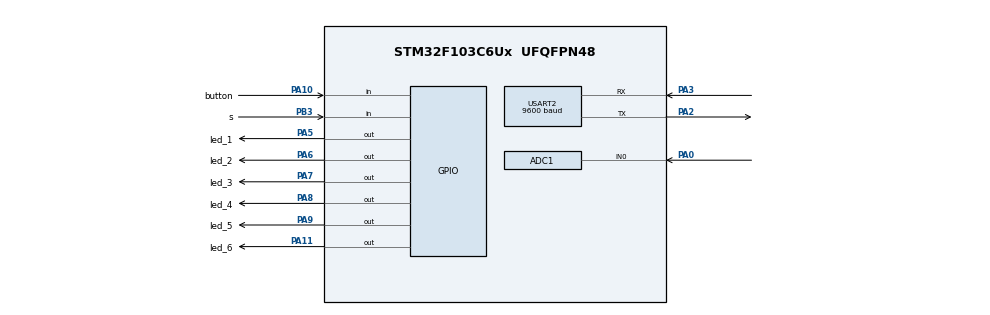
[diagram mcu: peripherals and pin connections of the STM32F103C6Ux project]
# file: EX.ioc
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ADC1.Channel-0\#ChannelRegularConversion=ADC_CHANNEL_0
ADC1.ContinuousConvMode=ENABLE
ADC1.NbrOfConversionFlag=1
ADC1.Rank-0\#ChannelRegularConversion=1
ADC1.SamplingTime-0\#ChannelRegularConversion=ADC_SAMPLETIME_1CYCLE_5
ADC1.master=1
Mcu.Family=STM32F1
Mcu.Name=STM32F103C6Ux
Mcu.Package=UFQFPN48
NVIC.ADC1_2_IRQn=true\:0\:0\:false\:false\:true\:true\:true\:true
NVIC.PriorityGroup=NVIC_PRIORITYGROUP_4
NVIC.TIM2_IRQn=true\:0\:0\:false\:false\:true\:true\:true\:true
NVIC.USART2_IRQn=true\:0\:0\:false\:false\:true\:true\:true\:true
PA0-WKUP.Signal=ADCx_IN0
PA10.GPIO_Label=button
PA10.GPIO_PuPd=GPIO_PULLUP
PA10.Signal=GPIO_Input
PA11.GPIO_Label=led_6
PA11.Signal=GPIO_Output
PA2.Mode=Asynchronous
PA2.Signal=USART2_TX
PA3.Mode=Asynchronous
PA3.Signal=USART2_RX
PA5.GPIO_Label=led_1
PA5.Signal=GPIO_Output
PA6.GPIO_Label=led_2
PA6.Signal=GPIO_Output
PA7.GPIO_Label=led_3
PA7.Signal=GPIO_Output
PA8.GPIO_Label=led_4
PA8.Signal=GPIO_Output
PA9.GPIO_Label=led_5
PA9.Signal=GPIO_Output
PB3.GPIO_Label=s
PB3.GPIO_PuPd=GPIO_PULLUP
PB3.Signal=GPIO_Input
ProjectManager.HeapSize=0x200
ProjectManager.StackSize=0x400
ProjectManager.TargetToolchain=STM32CubeIDE
RCC.APB1Freq_Value=8000000
RCC.APB2Freq_Value=8000000
SH.ADCx_IN0.0=ADC1_IN0,IN0
TIM2.Period=10
TIM2.Prescaler=7999
USART2.BaudRate=9600
USART2.VirtualMode=VM_ASYNC
VP_SYS_VS_ND.Mode=No_Debug
VP_TIM2_VS_ClockSourceINT.Mode=Internal
board=custom

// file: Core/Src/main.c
/* USER CODE BEGIN Header */
/**
 ******************************************************************************
 * @file           : main.c
 * @brief          : Main program body
 ******************************************************************************
 * @attention
 *
 * Copyright (c) 2022 STMicroelectronics.
 * All rights reserved.
 *
 * This software is licensed under terms that can be found in the LICENSE file
 * in the root directory of this software component.
 * If no LICENSE file comes with this software, it is provided AS-IS.
 *
 ******************************************************************************
 */
/* USER CODE END Header */
#include "main.h"
#include "string.h"
#include "timer_interrupt.h"
/* USER CODE BEGIN Includes */

// MUST BE ADJUSTED FOR EACH NEW PROJECT
/* USER CODE END Includes */

/* USER CODE BEGIN PTD */

TIM_HandleTypeDef htim2;

/* USER CODE END PTD */

ADC_HandleTypeDef hadc1;

TIM_HandleTypeDef htim2;

UART_HandleTypeDef huart2;

void SystemClock_Config(void);
static void MX_GPIO_Init(void);
static void MX_TIM2_Init(void);
static void MX_ADC1_Init(void);
static void MX_USART2_UART_Init(void);
/* USER CODE BEGIN PFP */
# define MAX_BUFFER_SIZE 30
uint8_t temp;
char buffer[MAX_BUFFER_SIZE];
uint8_t index_buffer = 0;
uint8_t index_end = 0;
uint8_t buffer_flag = 0;
uint8_t flag_start = 0;
uint8_t flag_uart = 0;
uint8_t flag_update = 1;
uint32_t ADC_value = 0;
uint8_t status = 0;
char msg[10];
char char_null[20] = "";
uint8_t confirm_flag = 0;
uint8_t connect_flag = 0;
char respond[20] = "!ADC=";
char empty[MAX_BUFFER_SIZE];
void HAL_TIM_PeriodElapsedCallback(TIM_HandleTypeDef *htim) {
	timer_run();
}
void HAL_UART_RxCpltCallback(UART_HandleTypeDef *huart) {
	if (huart->Instance == huart2.Instance) {
		buffer_flag = 1;
		HAL_UART_Transmit(&huart2, &temp, 1, 50);
		HAL_UART_Receive_IT(&huart2, &temp, 1);
	}
}
void command_parser_fms() {
	if (temp == 33) {
		buffer[index_buffer++] = temp;
		flag_start = 1;
	} else if (temp == 35) {
		buffer[index_buffer++] = temp;
		flag_start = 0;
	} else if (flag_start == 1) {
		buffer[index_buffer++] = temp;
	} else if (temp == 13 && flag_start == 0) {
		index_buffer = 0;
		if (strcmp(buffer, "!OK#") == 0) {
			status = 0;
			flag_update = 1;
		}
		else if (strcmp(buffer, "!RST#") == 0) {
			status = 1;
			setTimer(0, 0);
			flag_update = 1;
		}
		strcpy(buffer, empty);
	}

}
void uart_communication_fsm() {
	if (status == 1 && timer_flag[0] == 1) {
		HAL_UART_Transmit(&huart2, respond, sizeof(respond), 50);
		if (flag_update == 1) {
			ADC_value = HAL_ADC_GetValue(&hadc1);
		}
		sprintf(msg, "%u#\r\n", ADC_value);
		HAL_UART_Transmit(&huart2, (uint8_t*) msg, strlen(msg), 50);
		setTimer(0, 3000);
		flag_update = 0;
	}
}
/* USER CODE END PFP */

int main(void) {

	/* MCU Configuration--------------------------------------------------------*/

	/* Reset of all peripherals, Initializes the Flash interface and the Systick. */
	HAL_Init();

	/* Configure the system clock */
	SystemClock_Config();

	/* Initialize all configured peripherals */
	MX_GPIO_Init();
	MX_TIM2_Init();
	MX_ADC1_Init();
	HAL_ADC_Start(&hadc1);
	MX_USART2_UART_Init();
	HAL_UART_Receive_IT(&huart2, &temp, 6);
	HAL_TIM_Base_Start_IT(&htim2);
	setTimer(0, 0);
	setTimer(1, 0);
	/* USER CODE BEGIN 2 */
	/* USER CODE END 0 */
	/* USER CODE END 2 */

	/* Infinite loop */
	/* USER CODE BEGIN WHILE */

	/* USER CODE BEGIN 1 */
	/* USER CODE BEGIN 1 */
//	uint16_t raw;
//	uint32_t res;
//	char msg[10];
	/* USER CODE END 1 */

	while (1) {
		/* USER CODE END WHILE */
		/* USER CODE BEGIN 3 */
		if (buffer_flag == 1) {
			command_parser_fms();
			buffer_flag = 0;
		}
		uart_communication_fsm();
		if (timer_flag[1] == 1) {
			setTimer(1, 500);
			HAL_GPIO_TogglePin(GPIOA, led_2_Pin);
		}
	}
	/* USER CODE END 3 */
}

void SystemClock_Config(void) {
	RCC_OscInitTypeDef RCC_OscInitStruct = { 0 };
	RCC_ClkInitTypeDef RCC_ClkInitStruct = { 0 };
	RCC_PeriphCLKInitTypeDef PeriphClkInit = { 0 };

	/** Initializes the RCC Oscillators according to the specified parameters
	 * in the RCC_OscInitTypeDef structure.
	 */
	RCC_OscInitStruct.OscillatorType = RCC_OSCILLATORTYPE_HSI;
	RCC_OscInitStruct.HSIState = RCC_HSI_ON;
	RCC_OscInitStruct.HSICalibrationValue = RCC_HSICALIBRATION_DEFAULT;
	RCC_OscInitStruct.PLL.PLLState = RCC_PLL_NONE;
	if (HAL_RCC_OscConfig(&RCC_OscInitStruct) != HAL_OK) {
		Error_Handler();
	}

	/** Initializes the CPU, AHB and APB buses clocks
	 */
	RCC_ClkInitStruct.ClockType = RCC_CLOCKTYPE_HCLK | RCC_CLOCKTYPE_SYSCLK
			| RCC_CLOCKTYPE_PCLK1 | RCC_CLOCKTYPE_PCLK2;
	RCC_ClkInitStruct.SYSCLKSource = RCC_SYSCLKSOURCE_HSI;
	RCC_ClkInitStruct.AHBCLKDivider = RCC_SYSCLK_DIV1;
	RCC_ClkInitStruct.APB1CLKDivider = RCC_HCLK_DIV1;
	RCC_ClkInitStruct.APB2CLKDivider = RCC_HCLK_DIV1;

	if (HAL_RCC_ClockConfig(&RCC_ClkInitStruct, FLASH_LATENCY_0) != HAL_OK) {
		Error_Handler();
	}
	PeriphClkInit.PeriphClockSelection = RCC_PERIPHCLK_ADC;
	PeriphClkInit.AdcClockSelection = RCC_ADCPCLK2_DIV2;
	if (HAL_RCCEx_PeriphCLKConfig(&PeriphClkInit) != HAL_OK) {
		Error_Handler();
	}
}

static void MX_ADC1_Init(void) {

	ADC_ChannelConfTypeDef sConfig = { 0 };

	/** Common config
	 */
	hadc1.Instance = ADC1;
	hadc1.Init.ScanConvMode = ADC_SCAN_DISABLE;
	hadc1.Init.ContinuousConvMode = ENABLE;
	hadc1.Init.DiscontinuousConvMode = DISABLE;
	hadc1.Init.ExternalTrigConv = ADC_SOFTWARE_START;
	hadc1.Init.DataAlign = ADC_DATAALIGN_RIGHT;
	hadc1.Init.NbrOfConversion = 1;
	if (HAL_ADC_Init(&hadc1) != HAL_OK) {
		Error_Handler();
	}

	/** Configure Regular Channel
	 */
	sConfig.Channel = ADC_CHANNEL_0;
	sConfig.Rank = ADC_REGULAR_RANK_1;
	sConfig.SamplingTime = ADC_SAMPLETIME_1CYCLE_5;
	if (HAL_ADC_ConfigChannel(&hadc1, &sConfig) != HAL_OK) {
		Error_Handler();
	}

}

static void MX_TIM2_Init(void) {

	TIM_ClockConfigTypeDef sClockSourceConfig = { 0 };
	TIM_MasterConfigTypeDef sMasterConfig = { 0 };

	htim2.Instance = TIM2;
	htim2.Init.Prescaler = 7999;
	htim2.Init.CounterMode = TIM_COUNTERMODE_UP;
	htim2.Init.Period = 10;
	htim2.Init.ClockDivision = TIM_CLOCKDIVISION_DIV1;
	htim2.Init.AutoReloadPreload = TIM_AUTORELOAD_PRELOAD_DISABLE;
	if (HAL_TIM_Base_Init(&htim2) != HAL_OK) {
		Error_Handler();
	}
	sClockSourceConfig.ClockSource = TIM_CLOCKSOURCE_INTERNAL;
	if (HAL_TIM_ConfigClockSource(&htim2, &sClockSourceConfig) != HAL_OK) {
		Error_Handler();
	}
	sMasterConfig.MasterOutputTrigger = TIM_TRGO_RESET;
	sMasterConfig.MasterSlaveMode = TIM_MASTERSLAVEMODE_DISABLE;
	if (HAL_TIMEx_MasterConfigSynchronization(&htim2, &sMasterConfig)
			!= HAL_OK) {
		Error_Handler();
	}

}

static void MX_USART2_UART_Init(void) {

	huart2.Instance = USART2;
	huart2.Init.BaudRate = 9600;
	huart2.Init.WordLength = UART_WORDLENGTH_8B;
	huart2.Init.StopBits = UART_STOPBITS_1;
	huart2.Init.Parity = UART_PARITY_NONE;
	huart2.Init.Mode = UART_MODE_TX_RX;
	huart2.Init.HwFlowCtl = UART_HWCONTROL_NONE;
	huart2.Init.OverSampling = UART_OVERSAMPLING_16;
	if (HAL_UART_Init(&huart2) != HAL_OK) {
		Error_Handler();
	}

}

static void MX_GPIO_Init(void) {
	GPIO_InitTypeDef GPIO_InitStruct = { 0 };

	/* GPIO Ports Clock Enable */
	__HAL_RCC_GPIOA_CLK_ENABLE();
	__HAL_RCC_GPIOB_CLK_ENABLE();

	/*Configure GPIO pin Output Level */
	HAL_GPIO_WritePin(GPIOA,
	led_1_Pin | led_2_Pin | led_3_Pin | led_4_Pin | led_5_Pin | led_6_Pin,
			GPIO_PIN_RESET);

	/*Configure GPIO pins : led_1_Pin led_2_Pin led_3_Pin led_4_Pin
	 led_5_Pin led_6_Pin */
	GPIO_InitStruct.Pin = led_1_Pin | led_2_Pin | led_3_Pin | led_4_Pin
			| led_5_Pin | led_6_Pin;
	GPIO_InitStruct.Mode = GPIO_MODE_OUTPUT_PP;
	GPIO_InitStruct.Pull = GPIO_NOPULL;
	GPIO_InitStruct.Speed = GPIO_SPEED_FREQ_LOW;
	HAL_GPIO_Init(GPIOA, &GPIO_InitStruct);

	/*Configure GPIO pin : button_Pin */
	GPIO_InitStruct.Pin = button_Pin;
	GPIO_InitStruct.Mode = GPIO_MODE_INPUT;
	GPIO_InitStruct.Pull = GPIO_PULLUP;
	HAL_GPIO_Init(button_GPIO_Port, &GPIO_InitStruct);

	/*Configure GPIO pin : s_Pin */
	GPIO_InitStruct.Pin = s_Pin;
	GPIO_InitStruct.Mode = GPIO_MODE_INPUT;
	GPIO_InitStruct.Pull = GPIO_PULLUP;
	HAL_GPIO_Init(s_GPIO_Port, &GPIO_InitStruct);

}

void Error_Handler(void) {
	__disable_irq();
	while (1) {
	}
}
